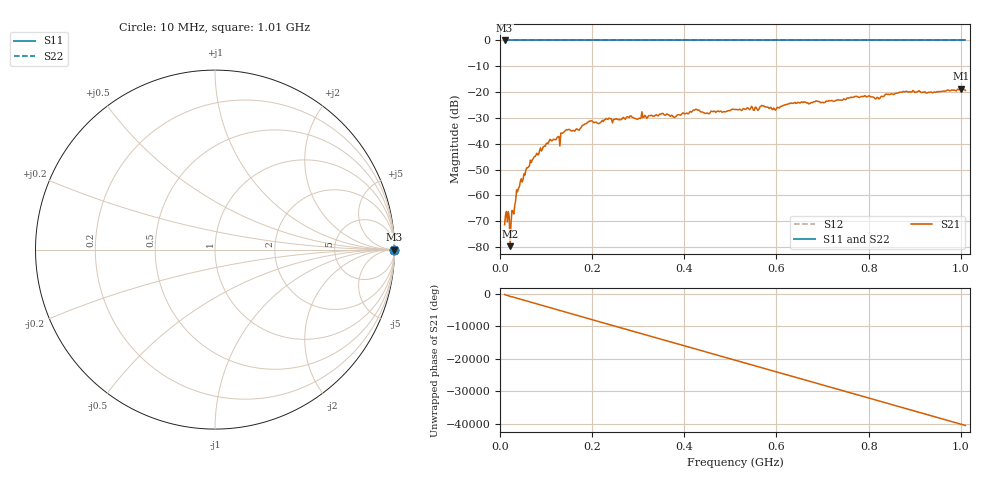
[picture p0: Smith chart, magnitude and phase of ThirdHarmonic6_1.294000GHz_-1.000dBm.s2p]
! 8/16/2025 2:11:14 PM
! C:\ANRITSUVNA\TEMP\TEMP.S2P
! CHANNEL.1
! TR.MEASUREMENT
! RAW.DATA
! RF.CORRECTION.OFF
! AVERAGING.OFF
! IF.BANDWIDTH: 5KHZ
! SWEEPTYPE:  FREQ.SWEEP(Linear)
! Reference Plane Port Info
! PORT:  PORT1  PORT2
! DISTANCE:  0  m  0  m
! TIME:  0  s  0  s
! PHASE.OFFSET:  0  deg.  0  deg.
! LOSS:  0  dB  0  dB
! REF.LOSS:  0  dB  0  dB
! REF.FREQ:  0  Hz  0  Hz
! Power Info
! POWER:  -20  dBm  -20  dBm
! EFF.POWER:  -20  dBm  -20  dBm
! SOURCE.ATTEN:  0  dB  0  dB
! TEST.ATTEN:  0  dB  0  dB
# GHZ S RI R 50.0
! FREQ.GHZ  S11RE  S11IM  S21RE  S21IM  S12RE  S12IM  S22RE  S22IM
!; PortSelection: Port_12
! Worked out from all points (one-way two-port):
!   501 points, 10 MHz to 1.01 GHz, reference 50 ohm
!   highest |S21| = -18.64 dB at 1 GHz (marker M1); lowest = -79.7 dB at 22 MHz (marker M2)
!   lowest |S11| = 0.0 dB at 10 MHz (marker M3)
!   |S11| at or under -10 dB: nowhere
!   |S22| runs from 0.0 to 0.0 dB; largest |S21 - S12| = 1.1
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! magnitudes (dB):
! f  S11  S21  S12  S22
! 10 MHz  0.0  -71.3  0.0  0.0
! 16 MHz  0.0  -70.3  0.0  0.0
! 20 MHz  0.0  -68.4  0.0  0.0
! 22 MHz  0.0  -79.7  0.0  0.0
! 26 MHz  0.0  -65.8  0.0  0.0
! 28 MHz  0.0  -66.1  0.0  0.0
! 40 MHz  0.0  -57.3  0.0  0.0
! 70 MHz  0.0  -46.2  0.0  0.0
! 106 MHz  0.0  -39.3  0.0  0.0
! 126 MHz  0.0  -37.2  0.0  0.0
! 144 MHz  0.0  -34.6  0.0  0.0
! 178 MHz  0.0  -33.1  0.0  0.0
! 196 MHz  0.0  -31.2  0.0  0.0
! 344 MHz  0.0  -29.2  0.0  0.0
! 510 MHz  0.0  -26.8  0.0  0.0
! 570 MHz  0.0  -25.3  0.0  0.0
! 594 MHz  0.0  -26.2  0.0  0.0
! 630 MHz  0.0  -24.3  0.0  0.0
! 678 MHz  0.0  -24.1  0.0  0.0
! 844 MHz  0.0  -20.9  0.0  0.0
! 1 GHz  0.0  -18.6  0.0  0.0
! 1.01 GHz  0.0  -19.4  0.0  0.0
